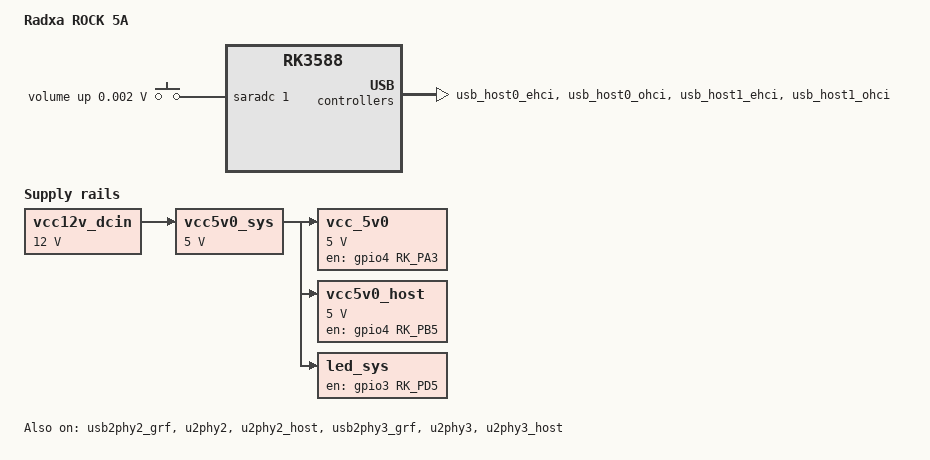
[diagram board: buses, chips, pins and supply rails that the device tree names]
// SPDX-License-Identifier: (GPL-2.0+ OR MIT)
/*
 * Copyright (c) 2021 Rockchip Electronics Co., Ltd
 *
 */

/dts-v1/;
#include "rk3588.dtsi"
#include "rk3588-u-boot.dtsi"
#include <dt-bindings/input/input.h>

/ {
	model = "Radxa ROCK 5A";
	compatible = "radxa,rock-5a", "rockchip,rk3588";

	vcc12v_dcin: vcc12v-dcin {
		u-boot,dm-pre-reloc;
		compatible = "regulator-fixed";
		regulator-name = "vcc12v_dcin";
		regulator-always-on;
		regulator-boot-on;
		regulator-min-microvolt = <12000000>;
		regulator-max-microvolt = <12000000>;
	};

	vcc5v0_sys: vcc5v0-sys {
		u-boot,dm-pre-reloc;
		compatible = "regulator-fixed";
		regulator-name = "vcc5v0_sys";
		regulator-always-on;
		regulator-boot-on;
		regulator-min-microvolt = <5000000>;
		regulator-max-microvolt = <5000000>;
		vin-supply = <&vcc12v_dcin>;
	};

	vcc_5v0: vcc-5v0 {
		u-boot,dm-pre-reloc;
		compatible = "regulator-fixed";
		regulator-name = "vcc_5v0";
		regulator-min-microvolt = <5000000>;
		regulator-max-microvolt = <5000000>;
		regulator-boot-on;
		regulator-always-on;
		enable-active-high;
		gpio = <&gpio4 RK_PA3 GPIO_ACTIVE_HIGH>;
		pinctrl-names = "default";
		pinctrl-0 = <&vcc_5v0_en>;
		vin-supply = <&vcc5v0_sys>;
	};

	vcc5v0_host: vcc5v0-host-regulator {
		u-boot,dm-pre-reloc;
		compatible = "regulator-fixed";
		regulator-name = "vcc5v0_host";
		regulator-boot-on;
		regulator-always-on;
		regulator-min-microvolt = <5000000>;
		regulator-max-microvolt = <5000000>;
		enable-active-high;
		gpio = <&gpio4 RK_PB5 GPIO_ACTIVE_HIGH>;
		pinctrl-names = "default";
		pinctrl-0 = <&vcc5v0_host_en>;
		vin-supply = <&vcc5v0_sys>;
	};

	led_sys: led-sys {
		u-boot,dm-pre-reloc;
		compatible = "regulator-fixed";
		regulator-name = "led_sys";
		enable-active-high;
		gpio = <&gpio3 RK_PD5 GPIO_ACTIVE_HIGH>; // Turn on user led
		regulator-boot-on;
		regulator-always-on;
		vin-supply = <&vcc5v0_sys>;
	};

	adc-keys {
		compatible = "adc-keys";
		io-channels = <&saradc 1>;
		io-channel-names = "buttons";
		keyup-threshold-microvolt = <1800000>;
		u-boot,dm-pre-reloc;
		status = "okay";

		volumeup-key {
			u-boot,dm-pre-reloc;
			linux,code = <KEY_VOLUMEUP>;
			label = "volume up";
			press-threshold-microvolt = <1750>;
		};
	};
};

&usb_host0_ehci {
	status = "okay";
	u-boot,dm-pre-reloc;
};

&usb_host0_ohci {
	status = "okay";
	u-boot,dm-pre-reloc;
};

&usb2phy2_grf {
	status = "okay";
	u-boot,dm-pre-reloc;
};

&u2phy2 {
	status = "okay";
	u-boot,dm-pre-reloc;
};

&u2phy2_host {
	status = "okay";
	u-boot,dm-pre-reloc;
};

&usb_host1_ehci {
	status = "okay";
	u-boot,dm-pre-reloc;
};

&usb_host1_ohci {
	status = "okay";
	u-boot,dm-pre-reloc;
};

&usb2phy3_grf {
	status = "okay";
	u-boot,dm-pre-reloc;
};

&u2phy3 {
	status = "okay";
	u-boot,dm-pre-reloc;
};

&u2phy3_host {
	status = "okay";
	u-boot,dm-pre-reloc;
};

&sfc {
	status = "disabled";
	pinctrl-names = "default";
	pinctrl-0 = <&fspim0_pins>;
};

&spi_nor {
	status = "disabled";
};

&pinctrl {

	/delete-node/ fspi;
	fspi {
		u-boot,dm-spl;
		fspim0_pins: fspim0-pins {
			u-boot,dm-spl;
			rockchip,pins =
				/* fspi_clk_m0 */
				<2 RK_PA0 2 &pcfg_pull_none>,
				/* fspi_cs0n_m0 */
				<2 RK_PD6 2 &pcfg_pull_none>,
				/* fspi_d0_m0 */
				<2 RK_PD0 2 &pcfg_pull_none>,
				/* fspi_d1_m0 */
				<2 RK_PD1 2 &pcfg_pull_none>,
				/* fspi_d2_m0 */
				<2 RK_PD2 2 &pcfg_pull_none>,
				/* fspi_d3_m0 */
				<2 RK_PD3 2 &pcfg_pull_none>;
		};
	};

	usb {
		u-boot,dm-pre-reloc;
		vcc5v0_host_en: vcc5v0-host-en {
			u-boot,dm-pre-reloc;
			rockchip,pins = <4 RK_PB5 RK_FUNC_GPIO &pcfg_pull_none>;
		};
	};

	power {
		u-boot,dm-spl;
		vcc_5v0_en: vcc-5v0-en {
			u-boot,dm-spl;
			rockchip,pins = <4 RK_PA3 RK_FUNC_GPIO &pcfg_pull_none>;
		};
	};
};
